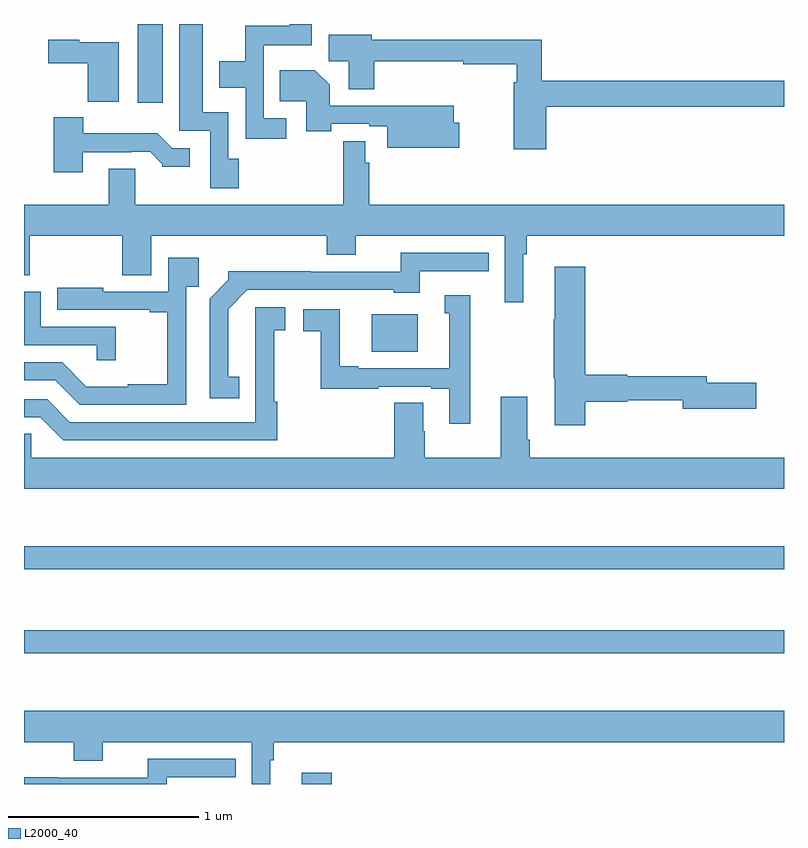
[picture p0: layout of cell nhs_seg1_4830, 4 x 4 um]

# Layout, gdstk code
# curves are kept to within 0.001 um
import gdstk
lib = gdstk.Library(unit=1e-6, precision=1e-09)
def R(c, l, rs):  # rectangles x0, y0, x1, y1
    for r in rs: c.add(gdstk.rectangle(r[:2], r[2:], *l))
def P(c, l, *ps):  # polygons
    for p in ps: c.add(gdstk.Polygon(p, *l))
L2000_40 = (2000, 40)

nhs_seg1_4830 = lib.new_cell('nhs_seg1_4830')
R(nhs_seg1_4830, L2000_40, [(374.462,530.199,374.621,530.257), (373,530.886,377,531.007), (373,531.33,377,531.451), (374.831,532.475,375.073,532.672), (373.598,533.784,373.729,534.199)])
P(nhs_seg1_4830, L2000_40, [(374.129,533.49),(374.076,533.49),(374.076,533.734),(373.942,533.734),(373.942,534.199),(373.817,534.199),(373.817,533.637),(373.98,533.637),(373.98,533.334),(374.129,533.334)],
  [(374.38,533.703),(374.262,533.703),(374.262,534.086),(374.515,534.086),(374.515,534.199),(374.399,534.199),(374.399,534.19),(374.164,534.19),(374.164,534.004),(374.027,534.004),(374.027,533.864),(374.166,533.864),(374.166,533.595),(374.38,533.595)],
  [(375.749,533.764),(377,533.764),(377,533.9),(375.725,533.9),(375.725,534.115),(374.83,534.115),(374.83,534.142),(374.603,534.142),(374.603,534.004),(374.708,534.004),(374.708,533.856),(374.843,533.856),(374.843,534.004),(375.312,534.004),(375.312,533.986),(375.593,533.986),(375.593,533.893),(375.578,533.893),(375.578,533.541),(375.749,533.541)],
  [(373.498,534.103),(373.29,534.103),(373.29,534.115),(373.128,534.115),(373.128,533.993),(373.336,533.993),(373.336,533.789),(373.498,533.789)],
  [(375.292,533.679),(375.262,533.679),(375.262,533.77),(374.608,533.769),(374.608,533.878),(374.53,533.956),(374.347,533.956),(374.347,533.792),(374.486,533.792),(374.486,533.635),(374.616,533.635),(374.616,533.673),(374.816,533.673),(374.816,533.661),(374.912,533.661),(374.912,533.549),(375.292,533.549)],
  [(373.309,533.523),(373.565,533.523),(373.565,533.526),(373.664,533.526),(373.728,533.462),(373.728,533.447),(373.873,533.447),(373.873,533.544),(373.779,533.544),(373.701,533.623),(373.312,533.623),(373.312,533.707),(373.157,533.707),(373.157,533.418),(373.309,533.418)],
  [(375.628,532.988),(375.647,532.988),(375.647,533.084),(377,533.084),(377,533.248),(374.816,533.248),(374.816,533.468),(374.796,533.468),(374.796,533.581),(374.68,533.581),(374.68,533.248),(373.585,533.248),(373.585,533.438),(373.445,533.438),(373.445,533.248),(373,533.248),(373,532.876),(373.031,532.876),(373.031,533.084),(373.517,533.084),(373.517,532.876),(373.669,532.876),(373.669,533.084),(374.594,533.084),(374.594,532.985),(374.746,532.985),(374.746,533.084),(375.531,533.084),(375.531,532.734),(375.628,532.734)],
  [(374.132,532.343),(374.074,532.343),(374.074,532.699),(374.175,532.8),(374.946,532.8),(374.946,532.784),(375.082,532.784),(375.082,532.899),(375.446,532.899),(375.446,532.995),(374.983,532.995),(374.983,532.896),(374.51,532.896),(374.51,532.898),(374.076,532.898),(374.076,532.853),(373.977,532.754),(373.977,532.23),(374.132,532.23)],
  [(373.854,532.817),(373.919,532.817),(373.919,532.969),(373.758,532.969),(373.758,532.791),(373.417,532.791),(373.417,532.81),(373.174,532.81),(373.174,532.695),(373.661,532.695),(373.661,532.683),(373.753,532.683),(373.753,532.303),(373.547,532.303),(373.547,532.291),(373.328,532.291),(373.2,532.419),(373,532.419),(373,532.323),(373.164,532.323),(373.293,532.194),(373.854,532.194)],
  [(375.953,532.21),(376.176,532.21),(376.176,532.218),(376.466,532.218),(376.466,532.175),(376.855,532.175),(376.855,532.31),(376.594,532.31),(376.594,532.346),(376.176,532.346),(376.176,532.354),(375.953,532.354),(375.953,532.921),(375.794,532.921),(375.794,532.646),(375.787,532.646),(375.787,532.335),(375.794,532.335),(375.794,532.086),(375.953,532.086)],
  [(373.484,532.605),(373.089,532.605),(373.089,532.791),(373,532.791),(373,532.509),(373.383,532.509),(373.383,532.428),(373.484,532.428)],
  [(375.349,532.771),(375.215,532.771),(375.215,532.677),(375.239,532.677),(375.239,532.386),(374.758,532.386),(374.758,532.399),(374.662,532.399),(374.662,532.698),(374.469,532.698),(374.469,532.582),(374.563,532.582),(374.563,532.278),(374.864,532.278),(374.864,532.29),(375.143,532.29),(375.143,532.278),(375.239,532.278),(375.239,532.095),(375.349,532.095)],
  [(374.333,532.211),(374.316,532.211),(374.316,532.587),(374.374,532.587),(374.374,532.708),(374.216,532.708),(374.217,532.104),(373.242,532.104),(373.122,532.224),(373,532.224),(373,532.128),(373.086,532.128),(373.206,532.008),(374.333,532.008)],
  [(377,531.916),(375.662,531.916),(375.662,532.012),(375.649,532.012),(375.649,532.237),(375.509,532.237),(375.509,531.916),(375.108,531.916),(375.108,532.055),(375.1,532.055),(375.1,532.205),(374.948,532.205),(374.948,531.916),(373.038,531.916),(373.038,532.043),(373,532.043),(373,531.752),(377,531.752)],
  [(374.296,530.324),(374.315,530.324),(374.315,530.42),(377,530.42),(377,530.584),(373,530.584),(373,530.42),(373.262,530.42),(373.262,530.321),(373.414,530.321),(373.414,530.42),(374.199,530.42),(374.199,530.199),(374.296,530.199)],
  [(373.75,530.235),(374.114,530.235),(374.114,530.331),(373.651,530.331),(373.651,530.232),(373.178,530.232),(373.178,530.234),(373,530.234),(373,530.199),(373.75,530.199)])

lib.write_gds('nhs_seg1_4830.gds')
